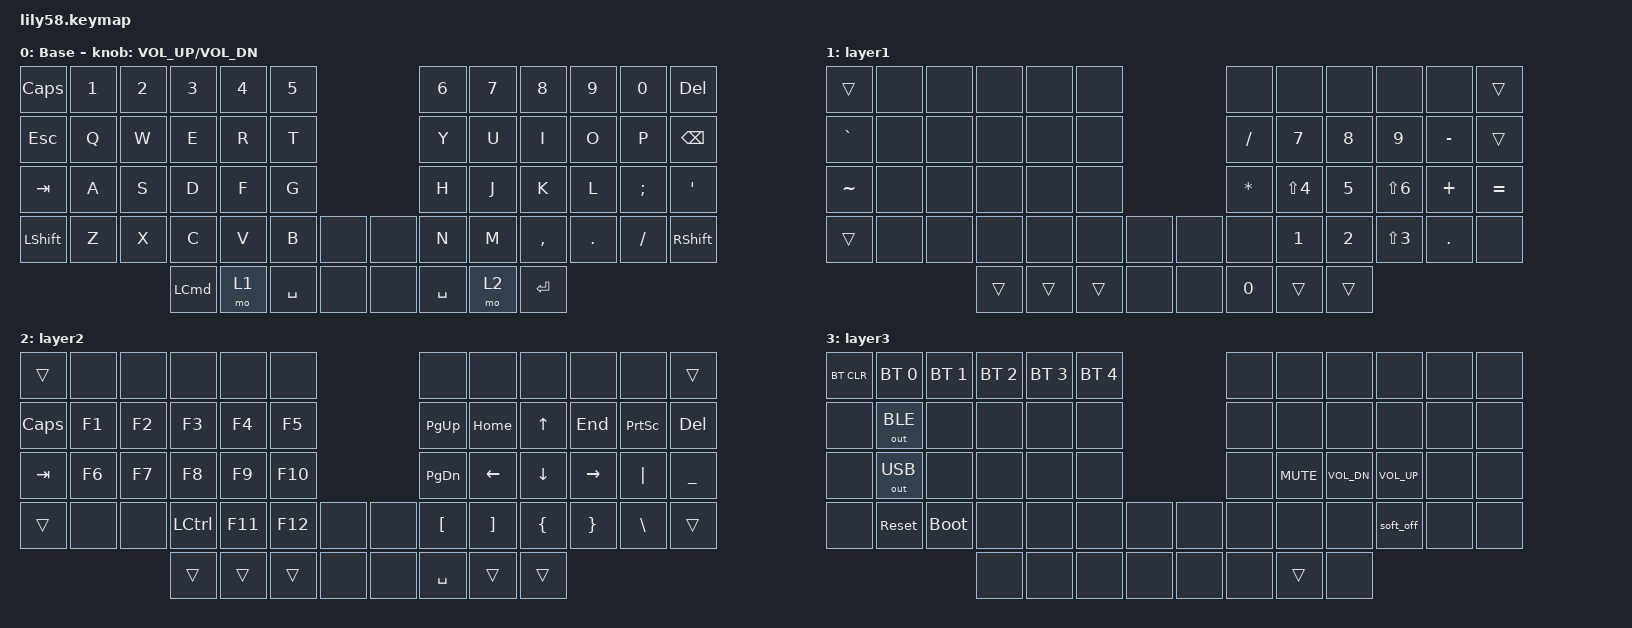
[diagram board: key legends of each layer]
/*
 * Copyright (c) 2020 The ZMK Contributors
 *
 * SPDX-License-Identifier: MIT
 */

#include <behaviors.dtsi>
#include <dt-bindings/zmk/bt.h>
#include <dt-bindings/zmk/keys.h>
#include <dt-bindings/zmk/outputs.h>

/ {
    keymap {
        compatible = "zmk,keymap";

        default_layer {
            // ------------------------------------------------------------------------------------------------------------
            // |  ESC  |  1  |  2  |  3   |  4   |  5   |                   |  6   |  7    |  8    |  9   |   0   |   `   |
            // |  TAB  |  Q  |  W  |  E   |  R   |  T   |                   |  Y   |  U    |  I    |  O   |   P   |   -   |
            // |  CTRL |  A  |  S  |  D   |  F   |  G   |                   |  H   |  J    |  K    |  L   |   ;   |   '   |
            // | SHIFT |  Z  |  X  |  C   |  V   |  B   |   "["  |  |  "]"  |  N   |  M    |  ,    |  .   |   /   | SHIFT |
            //                     | ALT  | GUI  | LOWER|  SPACE |  | ENTER | RAISE| BSPC  | GUI   |

            display-name = "Base";
            bindings = <
&kp CAPSLOCK  &kp N1  &kp N2  &kp N3            &kp N4  &kp N5                     &kp N6     &kp N7  &kp N8     &kp N9   &kp N0    &kp DELETE
&kp ESCAPE    &kp Q   &kp W   &kp E             &kp R   &kp T                      &kp Y      &kp U   &kp I      &kp O    &kp P     &kp BACKSPACE
&kp TAB       &kp A   &kp S   &kp D             &kp F   &kp G                      &kp H      &kp J   &kp K      &kp L    &kp SEMI  &kp SQT
&kp LSHFT     &kp Z   &kp X   &kp C             &kp V   &kp B      &none    &none  &kp N      &kp M   &kp COMMA  &kp DOT  &kp FSLH  &kp RSHFT
                              &kp LEFT_COMMAND  &mo 1   &kp SPACE  &none    &none  &kp SPACE  &mo 2   &kp ENTER
            >;

            sensor-bindings = <&inc_dec_kp C_VOL_UP C_VOL_DN>;
        };

        layer1 {
            bindings = <
&trans     &none  &none  &none   &none   &none                   &none     &none             &none   &none             &none      &trans
&kp GRAVE  &none  &none  &none   &none   &none                   &kp FSLH  &kp N7            &kp N8  &kp N9            &kp MINUS  &trans
&kp TILDE  &none  &none  &none   &none   &none                   &kp STAR  &kp LS(NUMBER_4)  &kp N5  &kp LS(NUMBER_6)  &kp PLUS   &kp EQUAL
&trans     &none  &none  &none   &none   &none   &none    &none  &none     &kp N1            &kp N2  &kp LS(NUMBER_3)  &kp DOT    &none
                         &trans  &trans  &trans  &none    &none  &kp N0    &trans            &trans
            >;
        };

        layer2 {
            bindings = <
&trans    &none   &none   &none      &none    &none                    &none      &none     &none           &none            &none            &trans
&kp CAPS  &kp F1  &kp F2  &kp F3     &kp F4   &kp F5                   &kp PG_UP  &kp HOME  &kp UP          &kp END          &kp PRINTSCREEN  &kp DEL
&kp TAB   &kp F6  &kp F7  &kp F8     &kp F9   &kp F10                  &kp PG_DN  &kp LEFT  &kp DOWN        &kp RIGHT        &kp PIPE         &kp UNDER
&trans    &none   &none   &kp LCTRL  &kp F11  &kp F12  &none    &none  &kp LBKT   &kp RBKT  &kp LEFT_BRACE  &kp RIGHT_BRACE  &kp BSLH         &trans
                          &trans     &trans   &trans   &none    &none  &kp SPACE  &trans    &trans
            >;
        };

        layer3 {
            bindings = <
&bt BT_CLR  &bt BT_SEL 0  &bt BT_SEL 1  &bt BT_SEL 2  &bt BT_SEL 3  &bt BT_SEL 4                  &none  &none       &none         &none            &none  &none
&none       &out OUT_BLE  &none         &none         &none         &none                         &none  &none       &none         &none            &none  &none
&none       &out OUT_USB  &none         &none         &none         &none                         &none  &kp K_MUTE  &kp C_VOL_DN  &kp C_VOLUME_UP  &none  &none
&none       &sys_reset    &bootloader   &none         &none         &none         &none    &none  &none  &none       &none         &soft_off        &none  &none
                                        &none         &none         &none         &none    &none  &none  &trans      &none
            >;
        };
    };

    conditional_layers {
        compatible = "zmk,conditional-layers";

        layer3 {
            if-layers = <1 2>;
            then-layer = <3>;
        };
    };
};
